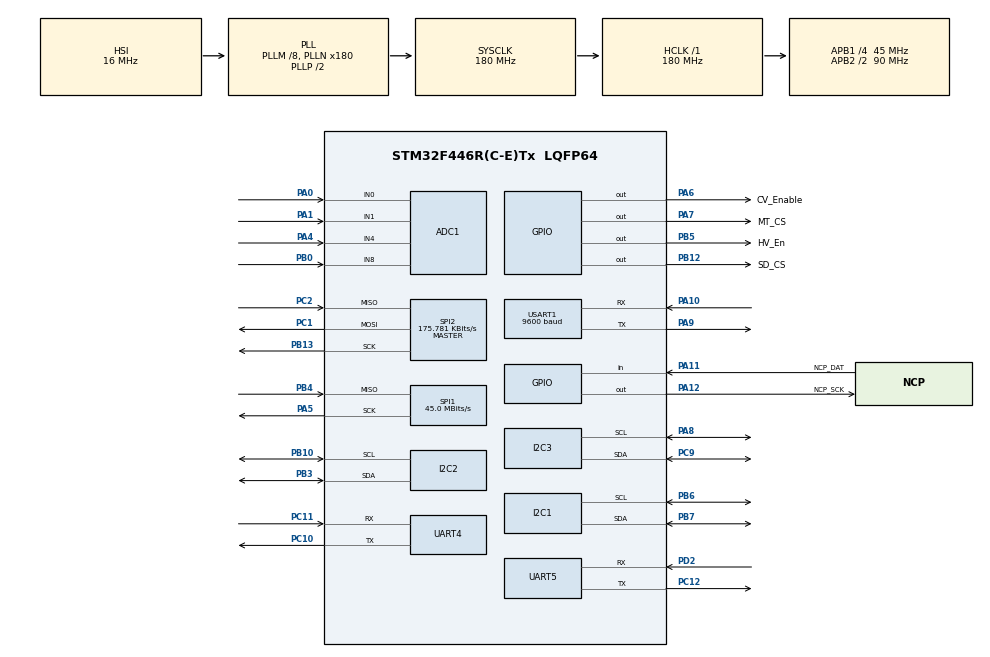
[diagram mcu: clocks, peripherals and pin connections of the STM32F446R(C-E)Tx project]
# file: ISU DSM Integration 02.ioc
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ADC1.Channel-0\#ChannelRegularConversion=ADC_CHANNEL_0
ADC1.Channel-1\#ChannelRegularConversion=ADC_CHANNEL_1
ADC1.Channel-2\#ChannelRegularConversion=ADC_CHANNEL_4
ADC1.Channel-3\#ChannelRegularConversion=ADC_CHANNEL_8
ADC1.ClockPrescaler=ADC_CLOCK_SYNC_PCLK_DIV8
ADC1.ContinuousConvMode=ENABLE
ADC1.DMAContinuousRequests=ENABLE
ADC1.NbrOfConversion=4
ADC1.NbrOfConversionFlag=1
ADC1.Rank-0\#ChannelRegularConversion=1
ADC1.Rank-1\#ChannelRegularConversion=2
ADC1.Rank-2\#ChannelRegularConversion=3
ADC1.Rank-3\#ChannelRegularConversion=4
ADC1.SamplingTime-0\#ChannelRegularConversion=ADC_SAMPLETIME_3CYCLES
ADC1.SamplingTime-1\#ChannelRegularConversion=ADC_SAMPLETIME_3CYCLES
ADC1.SamplingTime-2\#ChannelRegularConversion=ADC_SAMPLETIME_3CYCLES
ADC1.SamplingTime-3\#ChannelRegularConversion=ADC_SAMPLETIME_3CYCLES
ADC1.ScanConvMode=ENABLE
ADC1.master=1
Dma.ADC1.0.Direction=DMA_PERIPH_TO_MEMORY
Dma.ADC1.0.FIFOMode=DMA_FIFOMODE_DISABLE
Dma.ADC1.0.Instance=DMA2_Stream0
Dma.ADC1.0.MemDataAlignment=DMA_MDATAALIGN_HALFWORD
Dma.ADC1.0.MemInc=DMA_MINC_ENABLE
Dma.ADC1.0.Mode=DMA_CIRCULAR
Dma.ADC1.0.PeriphDataAlignment=DMA_PDATAALIGN_HALFWORD
Dma.ADC1.0.PeriphInc=DMA_PINC_DISABLE
Dma.ADC1.0.Priority=DMA_PRIORITY_LOW
Dma.Request0=ADC1
FATFS._MAX_SS=4096
FATFS._USE_LFN=1
Mcu.Family=STM32F4
Mcu.Name=STM32F446R(C-E)Tx
Mcu.Package=LQFP64
NVIC.DMA2_Stream0_IRQn=true\:0\:0\:false\:false\:true\:false\:true\:true
NVIC.PriorityGroup=NVIC_PRIORITYGROUP_4
NVIC.RCC_IRQn=true\:0\:0\:false\:false\:true\:true\:false\:true
NVIC.USART1_IRQn=true\:0\:0\:false\:false\:true\:true\:true\:true
PA0-WKUP.Signal=ADCx_IN0
PA1.Signal=ADCx_IN1
PA10.Mode=Asynchronous
PA10.Signal=USART1_RX
PA11.GPIO_Label=NCP_DAT
PA11.Signal=GPIO_Input
PA12.GPIO_Label=NCP_SCK
PA12.Signal=GPIO_Output
PA4.Signal=ADCx_IN4
PA5.Mode=RX_Only_Simplex_Unidirect_Master
PA5.Signal=SPI1_SCK
PA6.GPIO_Label=CV_Enable
PA6.GPIO_PuPd=GPIO_PULLDOWN
PA6.Signal=GPIO_Output
PA7.GPIO_Label=MT_CS
PA7.Signal=GPIO_Output
PA8.Mode=I2C
PA8.Signal=I2C3_SCL
PA9.Mode=Asynchronous
PA9.Signal=USART1_TX
PB0.Signal=ADCx_IN8
PB10.Mode=I2C
PB10.Signal=I2C2_SCL
PB12.GPIO_Label=SD_CS
PB12.Signal=GPIO_Output
PB13.Mode=Full_Duplex_Master
PB13.Signal=SPI2_SCK
PB3.Mode=I2C
PB3.Signal=I2C2_SDA
PB4.Mode=RX_Only_Simplex_Unidirect_Master
PB4.Signal=SPI1_MISO
PB5.GPIO_Label=HV_En
PB5.Signal=GPIO_Output
PB6.Mode=I2C
PB6.Signal=I2C1_SCL
PB7.Mode=I2C
PB7.Signal=I2C1_SDA
PC1.Mode=Full_Duplex_Master
PC1.Signal=SPI2_MOSI
PC10.Mode=Asynchronous
PC10.Signal=UART4_TX
PC11.Mode=Asynchronous
PC11.Signal=UART4_RX
PC12.Mode=Asynchronous
PC12.Signal=UART5_TX
PC14-OSC32_IN.Mode=LSE-External-Oscillator
PC14-OSC32_IN.Signal=RCC_OSC32_IN
PC15-OSC32_OUT.Mode=LSE-External-Oscillator
PC15-OSC32_OUT.Signal=RCC_OSC32_OUT
PC2.Mode=Full_Duplex_Master
PC2.Signal=SPI2_MISO
PC9.Mode=I2C
PC9.Signal=I2C3_SDA
PD2.Mode=Asynchronous
PD2.Signal=UART5_RX
PH0-OSC_IN.Mode=HSE-External-Oscillator
PH0-OSC_IN.Signal=RCC_OSC_IN
PH1-OSC_OUT.Mode=HSE-External-Oscillator
PH1-OSC_OUT.Signal=RCC_OSC_OUT
ProjectManager.HeapSize=0x400
ProjectManager.StackSize=0x800
ProjectManager.TargetToolchain=STM32CubeIDE
RCC.AHBFreq_Value=180000000
RCC.APB1CLKDivider=RCC_HCLK_DIV4
RCC.APB1Freq_Value=45000000
RCC.APB1TimFreq_Value=90000000
RCC.APB2CLKDivider=RCC_HCLK_DIV2
RCC.APB2Freq_Value=90000000
RCC.APB2TimFreq_Value=180000000
RCC.CortexFreq_Value=180000000
RCC.HCLKFreq_Value=180000000
RCC.HSE_VALUE=8000000
RCC.PLLM=8
RCC.PLLN=180
RCC.SYSCLKFreq_VALUE=180000000
RCC.SYSCLKSource=RCC_SYSCLKSOURCE_PLLCLK
RCC.USBFreq_Value=180000000
RCC.VCOOutputFreq_Value=360000000
SH.ADCx_IN0.0=ADC1_IN0,IN0
SH.ADCx_IN1.0=ADC1_IN1,IN1
SH.ADCx_IN4.0=ADC1_IN4,IN4
SH.ADCx_IN8.0=ADC1_IN8,IN8
SPI1.CalculateBaudRate=45.0 MBits/s
SPI1.Direction=SPI_DIRECTION_2LINES_RXONLY
SPI1.Mode=SPI_MODE_MASTER
SPI1.VirtualType=VM_MASTER
SPI2.BaudRatePrescaler=SPI_BAUDRATEPRESCALER_256
SPI2.CalculateBaudRate=175.781 KBits/s
SPI2.Direction=SPI_DIRECTION_2LINES
SPI2.Mode=SPI_MODE_MASTER
SPI2.VirtualType=VM_MASTER
TIM1.Prescaler=45000
UART4.VirtualMode=Asynchronous
UART5.VirtualMode=Asynchronous
USART1.BaudRate=9600
USART1.VirtualMode=VM_ASYNC
VP_FATFS_VS_Generic.Mode=User_defined
VP_TIM1_VS_ClockSourceINT.Mode=Internal
board=custom

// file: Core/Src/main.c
/* USER CODE BEGIN Header */
/**
  ******************************************************************************
  * @file           : main.c
  * @brief          : Main program body
  ******************************************************************************
  * @attention
  *
  * Copyright (c) 2023 STMicroelectronics.
  * All rights reserved.
  *
  * This software is licensed under terms that can be found in the LICENSE file
  * in the root directory of this software component.
  * If no LICENSE file comes with this software, it is provided AS-IS.
  *
  ******************************************************************************
  */
/* USER CODE END Header */
#include "main.h"
#include "fatfs.h"

/* USER CODE BEGIN Includes */
#include <stdbool.h>
#include "mpu6050.h"
#include "MAX6675.h"
#include "uartRingBuffer.h"
#include "NMEA.h"
#include "BMP180.h"
#include "HX710B.h"
#include "DataPacket.h"
#include "RTC.h"
#include "fatfs_sd.h"
#include "stdio.h"
/* USER CODE END Includes */

/* USER CODE BEGIN PD */
#define CV_En_Pin GPIO_PIN_6
/* USER CODE END PD */

ADC_HandleTypeDef hadc1;
DMA_HandleTypeDef hdma_adc1;

I2C_HandleTypeDef hi2c1;
I2C_HandleTypeDef hi2c2;
I2C_HandleTypeDef hi2c3;

SPI_HandleTypeDef hspi1;
SPI_HandleTypeDef hspi2;

TIM_HandleTypeDef htim1;

UART_HandleTypeDef huart4;
UART_HandleTypeDef huart5;
extern UART_HandleTypeDef huart1;

/* USER CODE BEGIN PV */
float Ax, Ay, Az, Gx, Gy, Gz;

uint8_t err_gyro = 0;

float CpmVoltage = 0.0;
float HVoltage = 0.0;
bool En_Voltage_ui=0;

float temperature;
uint16_t timer_val=0;

uint16_t dmaOut[4];

//Barometer_Sensor
float Temperature2;
float Pressure;
float Altitude;

//current_sensor 5A
uint16_t readValue5;
float rawVoltage5;
float current5;
float sensitivity5 = 0.185;
float adc_err5=1.052;

//current_sensor 20A
uint16_t readValue20;
float rawVoltage20;
float current20;
float sensitivity20 = 0.1;
float adc_err20=1.052;

//GPS Data
char GGA[100];
char RMC[100];

GPSSTRUCT gpsData;

//Nose Cone Pressure
uint16_t NCPressure=0;

TIME_Handle time;
TIME_Handle timein;

uint8_t settime=0;

char TxBuff[150];
char tempbuff[6];

union Transmission trans1;

FATFS fs;  // file system
FIL fil; // File
FILINFO fno;
FRESULT fresult;  // result
UINT br, bw;  // File read/write count

/**** capacity related *****/
FATFS *pfs;
DWORD fre_clust;
uint32_t total, free_space;

#define BUFFER_SIZE 128
char buffer[BUFFER_SIZE];  // to store strings..
char rxbuffer[BUFFER_SIZE];

int writepos=0;

/* USER CODE END PV */

void SystemClock_Config(void);
static void MX_GPIO_Init(void);
static void MX_DMA_Init(void);
static void MX_ADC1_Init(void);
static void MX_SPI1_Init(void);
static void MX_TIM1_Init(void);
static void MX_USART1_UART_Init(void);
static void MX_I2C1_Init(void);
static void MX_I2C2_Init(void);
static void MX_UART4_Init(void);
static void MX_I2C3_Init(void);
static void MX_SPI2_Init(void);
static void MX_UART5_Init(void);

/* USER CODE BEGIN 0 */

int bufsize (char *buf)
{
	int i=0;
	while (*buf++ != '\0') i++;
	return i;
}

void clear_buffer (void)
{
	for (int i=0; i<BUFFER_SIZE; i++) buffer[i] = '\0';
}
/* USER CODE END 0 */

int main(void)
{
  /* USER CODE BEGIN 1 */
	timein.seconds = 0;

  /* USER CODE END 1 */

  /* MCU Configuration--------------------------------------------------------*/

  /* Reset of all peripherals, Initializes the Flash interface and the Systick. */
  HAL_Init();

  /* Configure the system clock */
  SystemClock_Config();

  /* Initialize all configured peripherals */
  MX_GPIO_Init();
  MX_DMA_Init();
  MX_ADC1_Init();
  MX_SPI1_Init();
  MX_TIM1_Init();
  MX_USART1_UART_Init();
  MX_I2C1_Init();
  MX_I2C2_Init();
  MX_UART4_Init();
  MX_I2C3_Init();
  MX_SPI2_Init();
  MX_FATFS_Init();
  MX_UART5_Init();
  /* USER CODE BEGIN 2 */
  HAL_ADC_Init(&hadc1);
  MPU6050_Init();
  HAL_ADC_Start_DMA(&hadc1, dmaOut, 4);
  BMP180_Start();

  Ringbuf_init();
  HAL_Delay(500);

  if(settime==1)
      Set_Time(timein.seconds, timein.minutes, timein.hour , timein.dayofweek, timein.dayofmonth, timein.month, timein.year);

  void current_sensor5()
  {
  	  readValue5 = dmaOut[1];
  	  rawVoltage5 = ((float) readValue5 * 3.3) / 4095 *adc_err5;
  	  trans1.tlm1.CPM_Current =(1 - rawVoltage5)/sensitivity5;
  }

  void current_sensor20()
  {
  	  readValue20 = dmaOut[2];
  	  rawVoltage20 = ((float) readValue20 * 3.3) / 4095 *adc_err20;
  	  trans1.tlm1.H_Current =(1 - rawVoltage20)/sensitivity20;
  }

  void barometer_sensor()
  {
  	  Temperature2 = BMP180_GetTemp();
  	  Pressure = BMP180_GetPress(0);
  	  trans1.tlm1.Altitude = BMP180_GetAlt(0);
  }

  strcpy(buffer,"Hello Duta'h\n");

  /* USER CODE END 2 */

  /* Infinite loop */
  /* USER CODE BEGIN WHILE */
  while (1)
  {
   HAL_Delay(5);
	  if(Wait_for("GGA")==1)
	  {
		  Copy_upto("*", GGA);
		  decodeGGA(GGA, &gpsData.ggastruct);
	  }
	  if (Wait_for("RMC")==1)
	  {
		  Copy_upto("*",RMC);
		  decodeRMC(RMC, &gpsData.rmcstruct);
	  }

	  trans1.tlm1.M_Temp=Max6675_Read_Temp();
	  barometer_sensor();
	  trans1.tlm1.NC_Press =readHX();

	  current_sensor5();
	  current_sensor20();

	  MPU6050_Read_Accel (&Ax, &Ay, &Az);
	  MPU6050_Read_Gyro(&Gx, &Gy, &Gz);
	  //HAL_Delay(250);
	  trans1.tlm1.Ax=Ax;
	  trans1.tlm1.Ay=Ay;
	  trans1.tlm1.Az=Az;
	  trans1.tlm1.Gx=Gx;
	  trans1.tlm1.Gy=Gy;
	  trans1.tlm1.Gz=Gz;

	  HAL_GPIO_WritePin(GPIOA, CV_En_Pin, 1);
	  trans1.tlm1.CPM_Voltage = dmaOut[0]*(5.0/4096.0);
	  HAL_GPIO_WritePin(HV_En_GPIO_Port, HV_En_Pin, 1);
	  trans1.tlm1.H_Voltage=dmaOut[3]*(9.36/4096);

	  HAL_Delay(100);
	  Get_Time();
		trans1.tlm1.seconds=time.seconds;
		trans1.tlm1.minutes=time.minutes;
		trans1.tlm1.hour=time.hour;
		trans1.tlm1.dayofmonth=time.dayofmonth;
		trans1.tlm1.month=time.month;
		trans1.tlm1.year=time.year;

		fresult = f_mount(&fs, "/", 1);
		HAL_Delay(500);
		fresult = f_open(&fil, "testfile.txt", FA_OPEN_ALWAYS | FA_READ | FA_WRITE);
		//	  memset(TxBuff,"\0",150);

	  for(int i=0; i<23; i++)
	  {

		  memset(tempbuff,'\0',6);
		  gcvt(trans1.dataframe[i],4,tempbuff);
		  //strcat(TxBuff,tempbuff);
		  strcat(tempbuff,",");
		  HAL_UART_Transmit(&huart4, tempbuff, strlen(tempbuff), 100);
		  if(i==22) strcat(tempbuff, "\n");

		  f_lseek(&fil,writepos);
		  fresult = f_write(&fil, tempbuff, bufsize(tempbuff), &bw);
		  writepos+=bufsize(tempbuff);

	  }

	  f_close(&fil);
	  fresult = f_mount(NULL, "/", 1);

	  HAL_UART_Transmit(&huart4, "\n", 1, 100);

	  /*fresult = f_lseek(&fil, writepos);
	  fresult = f_write(&fil, strw, bufsize(strw), &bw);
	  f_close(&fil);
	  writepos+=sizeof(strw);

	  fresult = f_open(&fil, "testfile.txt", FA_READ);
	  f_read (&fil, rxbuffer, f_size(&fil), &br);
	  f_close(&fil);
	  fresult = f_mount(NULL, "/", 1);*/

	  HAL_Delay(100);

    /* USER CODE END WHILE */

  }
}

void SystemClock_Config(void)
{
  RCC_OscInitTypeDef RCC_OscInitStruct = {0};
  RCC_ClkInitTypeDef RCC_ClkInitStruct = {0};

  /** Configure the main internal regulator output voltage
  */
  __HAL_RCC_PWR_CLK_ENABLE();
  __HAL_PWR_VOLTAGESCALING_CONFIG(PWR_REGULATOR_VOLTAGE_SCALE1);

  /** Initializes the RCC Oscillators according to the specified parameters
  * in the RCC_OscInitTypeDef structure.
  */
  RCC_OscInitStruct.OscillatorType = RCC_OSCILLATORTYPE_HSI;
  RCC_OscInitStruct.HSIState = RCC_HSI_ON;
  RCC_OscInitStruct.HSICalibrationValue = RCC_HSICALIBRATION_DEFAULT;
  RCC_OscInitStruct.PLL.PLLState = RCC_PLL_ON;
  RCC_OscInitStruct.PLL.PLLSource = RCC_PLLSOURCE_HSI;
  RCC_OscInitStruct.PLL.PLLM = 8;
  RCC_OscInitStruct.PLL.PLLN = 180;
  RCC_OscInitStruct.PLL.PLLP = RCC_PLLP_DIV2;
  RCC_OscInitStruct.PLL.PLLQ = 2;
  RCC_OscInitStruct.PLL.PLLR = 2;
  if (HAL_RCC_OscConfig(&RCC_OscInitStruct) != HAL_OK)
  {
    Error_Handler();
  }

  /** Activate the Over-Drive mode
  */
  if (HAL_PWREx_EnableOverDrive() != HAL_OK)
  {
    Error_Handler();
  }

  /** Initializes the CPU, AHB and APB buses clocks
  */
  RCC_ClkInitStruct.ClockType = RCC_CLOCKTYPE_HCLK|RCC_CLOCKTYPE_SYSCLK
                              |RCC_CLOCKTYPE_PCLK1|RCC_CLOCKTYPE_PCLK2;
  RCC_ClkInitStruct.SYSCLKSource = RCC_SYSCLKSOURCE_PLLCLK;
  RCC_ClkInitStruct.AHBCLKDivider = RCC_SYSCLK_DIV1;
  RCC_ClkInitStruct.APB1CLKDivider = RCC_HCLK_DIV4;
  RCC_ClkInitStruct.APB2CLKDivider = RCC_HCLK_DIV2;

  if (HAL_RCC_ClockConfig(&RCC_ClkInitStruct, FLASH_LATENCY_5) != HAL_OK)
  {
    Error_Handler();
  }
}

static void MX_ADC1_Init(void)
{

  ADC_ChannelConfTypeDef sConfig = {0};

  /** Configure the global features of the ADC (Clock, Resolution, Data Alignment and number of conversion)
  */
  hadc1.Instance = ADC1;
  hadc1.Init.ClockPrescaler = ADC_CLOCK_SYNC_PCLK_DIV8;
  hadc1.Init.Resolution = ADC_RESOLUTION_12B;
  hadc1.Init.ScanConvMode = ENABLE;
  hadc1.Init.ContinuousConvMode = ENABLE;
  hadc1.Init.DiscontinuousConvMode = DISABLE;
  hadc1.Init.ExternalTrigConvEdge = ADC_EXTERNALTRIGCONVEDGE_NONE;
  hadc1.Init.ExternalTrigConv = ADC_SOFTWARE_START;
  hadc1.Init.DataAlign = ADC_DATAALIGN_RIGHT;
  hadc1.Init.NbrOfConversion = 4;
  hadc1.Init.DMAContinuousRequests = ENABLE;
  hadc1.Init.EOCSelection = ADC_EOC_SINGLE_CONV;
  if (HAL_ADC_Init(&hadc1) != HAL_OK)
  {
    Error_Handler();
  }

  /** Configure for the selected ADC regular channel its corresponding rank in the sequencer and its sample time.
  */
  sConfig.Channel = ADC_CHANNEL_0;
  sConfig.Rank = 1;
  sConfig.SamplingTime = ADC_SAMPLETIME_3CYCLES;
  if (HAL_ADC_ConfigChannel(&hadc1, &sConfig) != HAL_OK)
  {
    Error_Handler();
  }

  /** Configure for the selected ADC regular channel its corresponding rank in the sequencer and its sample time.
  */
  sConfig.Channel = ADC_CHANNEL_1;
  sConfig.Rank = 2;
  if (HAL_ADC_ConfigChannel(&hadc1, &sConfig) != HAL_OK)
  {
    Error_Handler();
  }

  /** Configure for the selected ADC regular channel its corresponding rank in the sequencer and its sample time.
  */
  sConfig.Channel = ADC_CHANNEL_4;
  sConfig.Rank = 3;
  if (HAL_ADC_ConfigChannel(&hadc1, &sConfig) != HAL_OK)
  {
    Error_Handler();
  }

  /** Configure for the selected ADC regular channel its corresponding rank in the sequencer and its sample time.
  */
  sConfig.Channel = ADC_CHANNEL_8;
  sConfig.Rank = 4;
  if (HAL_ADC_ConfigChannel(&hadc1, &sConfig) != HAL_OK)
  {
    Error_Handler();
  }

}

static void MX_I2C1_Init(void)
{

  hi2c1.Instance = I2C1;
  hi2c1.Init.ClockSpeed = 100000;
  hi2c1.Init.DutyCycle = I2C_DUTYCYCLE_2;
  hi2c1.Init.OwnAddress1 = 0;
  hi2c1.Init.AddressingMode = I2C_ADDRESSINGMODE_7BIT;
  hi2c1.Init.DualAddressMode = I2C_DUALADDRESS_DISABLE;
  hi2c1.Init.OwnAddress2 = 0;
  hi2c1.Init.GeneralCallMode = I2C_GENERALCALL_DISABLE;
  hi2c1.Init.NoStretchMode = I2C_NOSTRETCH_DISABLE;
  if (HAL_I2C_Init(&hi2c1) != HAL_OK)
  {
    Error_Handler();
  }

}

static void MX_I2C2_Init(void)
{

  hi2c2.Instance = I2C2;
  hi2c2.Init.ClockSpeed = 100000;
  hi2c2.Init.DutyCycle = I2C_DUTYCYCLE_2;
  hi2c2.Init.OwnAddress1 = 0;
  hi2c2.Init.AddressingMode = I2C_ADDRESSINGMODE_7BIT;
  hi2c2.Init.DualAddressMode = I2C_DUALADDRESS_DISABLE;
  hi2c2.Init.OwnAddress2 = 0;
  hi2c2.Init.GeneralCallMode = I2C_GENERALCALL_DISABLE;
  hi2c2.Init.NoStretchMode = I2C_NOSTRETCH_DISABLE;
  if (HAL_I2C_Init(&hi2c2) != HAL_OK)
  {
    Error_Handler();
  }

}

static void MX_I2C3_Init(void)
{

  hi2c3.Instance = I2C3;
  hi2c3.Init.ClockSpeed = 100000;
  hi2c3.Init.DutyCycle = I2C_DUTYCYCLE_2;
  hi2c3.Init.OwnAddress1 = 0;
  hi2c3.Init.AddressingMode = I2C_ADDRESSINGMODE_7BIT;
  hi2c3.Init.DualAddressMode = I2C_DUALADDRESS_DISABLE;
  hi2c3.Init.OwnAddress2 = 0;
  hi2c3.Init.GeneralCallMode = I2C_GENERALCALL_DISABLE;
  hi2c3.Init.NoStretchMode = I2C_NOSTRETCH_DISABLE;
  if (HAL_I2C_Init(&hi2c3) != HAL_OK)
  {
    Error_Handler();
  }

}

static void MX_SPI1_Init(void)
{

  /* SPI1 parameter configuration*/
  hspi1.Instance = SPI1;
  hspi1.Init.Mode = SPI_MODE_MASTER;
  hspi1.Init.Direction = SPI_DIRECTION_2LINES_RXONLY;
  hspi1.Init.DataSize = SPI_DATASIZE_8BIT;
  hspi1.Init.CLKPolarity = SPI_POLARITY_LOW;
  hspi1.Init.CLKPhase = SPI_PHASE_1EDGE;
  hspi1.Init.NSS = SPI_NSS_SOFT;
  hspi1.Init.BaudRatePrescaler = SPI_BAUDRATEPRESCALER_2;
  hspi1.Init.FirstBit = SPI_FIRSTBIT_MSB;
  hspi1.Init.TIMode = SPI_TIMODE_DISABLE;
  hspi1.Init.CRCCalculation = SPI_CRCCALCULATION_DISABLE;
  hspi1.Init.CRCPolynomial = 10;
  if (HAL_SPI_Init(&hspi1) != HAL_OK)
  {
    Error_Handler();
  }

}

static void MX_SPI2_Init(void)
{

  /* SPI2 parameter configuration*/
  hspi2.Instance = SPI2;
  hspi2.Init.Mode = SPI_MODE_MASTER;
  hspi2.Init.Direction = SPI_DIRECTION_2LINES;
  hspi2.Init.DataSize = SPI_DATASIZE_8BIT;
  hspi2.Init.CLKPolarity = SPI_POLARITY_LOW;
  hspi2.Init.CLKPhase = SPI_PHASE_1EDGE;
  hspi2.Init.NSS = SPI_NSS_SOFT;
  hspi2.Init.BaudRatePrescaler = SPI_BAUDRATEPRESCALER_256;
  hspi2.Init.FirstBit = SPI_FIRSTBIT_MSB;
  hspi2.Init.TIMode = SPI_TIMODE_DISABLE;
  hspi2.Init.CRCCalculation = SPI_CRCCALCULATION_DISABLE;
  hspi2.Init.CRCPolynomial = 10;
  if (HAL_SPI_Init(&hspi2) != HAL_OK)
  {
    Error_Handler();
  }

}

static void MX_TIM1_Init(void)
{

  TIM_ClockConfigTypeDef sClockSourceConfig = {0};
  TIM_MasterConfigTypeDef sMasterConfig = {0};

  htim1.Instance = TIM1;
  htim1.Init.Prescaler = 45000;
  htim1.Init.CounterMode = TIM_COUNTERMODE_UP;
  htim1.Init.Period = 65535;
  htim1.Init.ClockDivision = TIM_CLOCKDIVISION_DIV1;
  htim1.Init.RepetitionCounter = 0;
  htim1.Init.AutoReloadPreload = TIM_AUTORELOAD_PRELOAD_DISABLE;
  if (HAL_TIM_Base_Init(&htim1) != HAL_OK)
  {
    Error_Handler();
  }
  sClockSourceConfig.ClockSource = TIM_CLOCKSOURCE_INTERNAL;
  if (HAL_TIM_ConfigClockSource(&htim1, &sClockSourceConfig) != HAL_OK)
  {
    Error_Handler();
  }
  sMasterConfig.MasterOutputTrigger = TIM_TRGO_RESET;
  sMasterConfig.MasterSlaveMode = TIM_MASTERSLAVEMODE_DISABLE;
  if (HAL_TIMEx_MasterConfigSynchronization(&htim1, &sMasterConfig) != HAL_OK)
  {
    Error_Handler();
  }

}

static void MX_UART4_Init(void)
{

  huart4.Instance = UART4;
  huart4.Init.BaudRate = 115200;
  huart4.Init.WordLength = UART_WORDLENGTH_8B;
  huart4.Init.StopBits = UART_STOPBITS_1;
  huart4.Init.Parity = UART_PARITY_NONE;
  huart4.Init.Mode = UART_MODE_TX_RX;
  huart4.Init.HwFlowCtl = UART_HWCONTROL_NONE;
  huart4.Init.OverSampling = UART_OVERSAMPLING_16;
  if (HAL_UART_Init(&huart4) != HAL_OK)
  {
    Error_Handler();
  }

}

static void MX_UART5_Init(void)
{

  huart5.Instance = UART5;
  huart5.Init.BaudRate = 115200;
  huart5.Init.WordLength = UART_WORDLENGTH_8B;
  huart5.Init.StopBits = UART_STOPBITS_1;
  huart5.Init.Parity = UART_PARITY_NONE;
  huart5.Init.Mode = UART_MODE_TX_RX;
  huart5.Init.HwFlowCtl = UART_HWCONTROL_NONE;
  huart5.Init.OverSampling = UART_OVERSAMPLING_16;
  if (HAL_UART_Init(&huart5) != HAL_OK)
  {
    Error_Handler();
  }

}

static void MX_USART1_UART_Init(void)
{

  huart1.Instance = USART1;
  huart1.Init.BaudRate = 9600;
  huart1.Init.WordLength = UART_WORDLENGTH_8B;
  huart1.Init.StopBits = UART_STOPBITS_1;
  huart1.Init.Parity = UART_PARITY_NONE;
  huart1.Init.Mode = UART_MODE_TX_RX;
  huart1.Init.HwFlowCtl = UART_HWCONTROL_NONE;
  huart1.Init.OverSampling = UART_OVERSAMPLING_16;
  if (HAL_UART_Init(&huart1) != HAL_OK)
  {
    Error_Handler();
  }

}

static void MX_DMA_Init(void)
{

  /* DMA controller clock enable */
  __HAL_RCC_DMA2_CLK_ENABLE();

  /* DMA interrupt init */
  /* DMA2_Stream0_IRQn interrupt configuration */
  HAL_NVIC_SetPriority(DMA2_Stream0_IRQn, 0, 0);
  HAL_NVIC_EnableIRQ(DMA2_Stream0_IRQn);

}

static void MX_GPIO_Init(void)
{
  GPIO_InitTypeDef GPIO_InitStruct = {0};

  /* GPIO Ports Clock Enable */
  __HAL_RCC_GPIOC_CLK_ENABLE();
  __HAL_RCC_GPIOH_CLK_ENABLE();
  __HAL_RCC_GPIOA_CLK_ENABLE();
  __HAL_RCC_GPIOB_CLK_ENABLE();
  __HAL_RCC_GPIOD_CLK_ENABLE();

  /*Configure GPIO pin Output Level */
  HAL_GPIO_WritePin(GPIOA, CV_Enable_Pin|MT_CS_Pin|NCP_SCK_Pin, GPIO_PIN_RESET);

  /*Configure GPIO pin Output Level */
  HAL_GPIO_WritePin(GPIOB, SD_CS_Pin|HV_En_Pin, GPIO_PIN_RESET);

  /*Configure GPIO pin : CV_Enable_Pin */
  GPIO_InitStruct.Pin = CV_Enable_Pin;
  GPIO_InitStruct.Mode = GPIO_MODE_OUTPUT_PP;
  GPIO_InitStruct.Pull = GPIO_PULLDOWN;
  GPIO_InitStruct.Speed = GPIO_SPEED_FREQ_LOW;
  HAL_GPIO_Init(CV_Enable_GPIO_Port, &GPIO_InitStruct);

  /*Configure GPIO pins : MT_CS_Pin NCP_SCK_Pin */
  GPIO_InitStruct.Pin = MT_CS_Pin|NCP_SCK_Pin;
  GPIO_InitStruct.Mode = GPIO_MODE_OUTPUT_PP;
  GPIO_InitStruct.Pull = GPIO_NOPULL;
  GPIO_InitStruct.Speed = GPIO_SPEED_FREQ_LOW;
  HAL_GPIO_Init(GPIOA, &GPIO_InitStruct);

  /*Configure GPIO pins : SD_CS_Pin HV_En_Pin */
  GPIO_InitStruct.Pin = SD_CS_Pin|HV_En_Pin;
  GPIO_InitStruct.Mode = GPIO_MODE_OUTPUT_PP;
  GPIO_InitStruct.Pull = GPIO_NOPULL;
  GPIO_InitStruct.Speed = GPIO_SPEED_FREQ_LOW;
  HAL_GPIO_Init(GPIOB, &GPIO_InitStruct);

  /*Configure GPIO pin : NCP_DAT_Pin */
  GPIO_InitStruct.Pin = NCP_DAT_Pin;
  GPIO_InitStruct.Mode = GPIO_MODE_INPUT;
  GPIO_InitStruct.Pull = GPIO_NOPULL;
  HAL_GPIO_Init(NCP_DAT_GPIO_Port, &GPIO_InitStruct);

}

/* USER CODE BEGIN 4 */
int _write(int file, char *ptr, int len)
{
	int DataIdx;

	for (DataIdx = 0; DataIdx < len; DataIdx++)
	{
		ITM_SendChar(*ptr++);
	}
	return len;
}
/* USER CODE END 4 */

void Error_Handler(void)
{
  __disable_irq();
  while (1)
  {
  }
}
